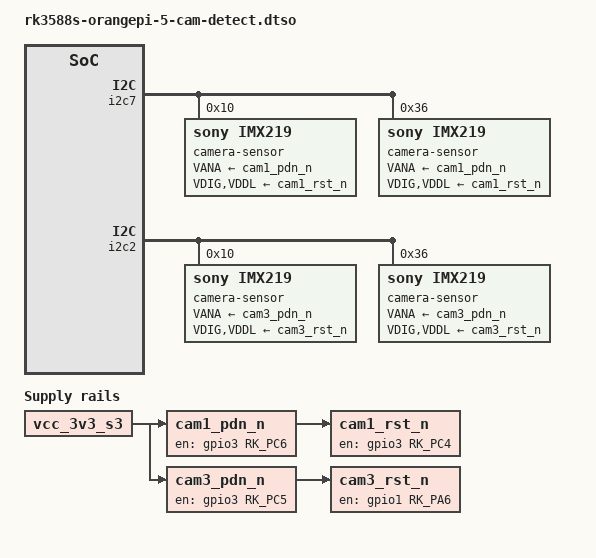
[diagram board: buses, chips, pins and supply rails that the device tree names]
// SPDX-License-Identifier: (GPL-2.0+ OR MIT)
/*
 * NOT FOR UPSTREAM: one-boot camera presence probe for the Orange Pi 5.
 *
 * Camera sensors only answer on I2C once they're powered, out of reset and
 * clocked, and the board DT neither enables I2C7 nor drives the camera
 * control lines, so a plain i2cdetect can't see an attached module. This
 * overlay powers the CAM1 and CAM3 connectors and binds the mainline imx219
 * driver to the usual sensor addresses (0x10: IMX219 / OV13850, 0x36:
 * OV13855) only to use its identify step, which only reads 16-bit register
 * 0x0000 and powers the sensor off again on failure:
 *
 *   "failed to read chip id 219"     -> nothing acknowledges at that address
 *   "chip id mismatch: 219!=<val>"   -> a non-IMX219 sensor is there
 *   probe succeeds                   -> an IMX219 is there
 *
 * Wiring from the Xunlong vendor kernel (rk3588s-orangepi-5-camera[13].dtsi):
 *   CAM1: I2C7 (M0), MCLK CLK_MIPI_CAMARAOUT_M3 (GPIO1_D6),
 *         reset GPIO3_C4, power-down GPIO3_C6
 *   CAM3: I2C2 (board default pins), MCLK CLK_MIPI_CAMARAOUT_M4 (GPIO1_D7),
 *         reset GPIO1_A6, power-down GPIO3_C5
 * CAM2 shares I2C7 and the sensor addresses with CAM1 (reset GPIO1_B2,
 * power-down GPIO3_C1, MCLK M4) and isn't covered here.
 *
 * The reset and power-down lines (active low at the sensor) are modelled as
 * fixed regulators, so both sensor nodes of a connector can share them; the
 * imx219 supplies bring up power-down first, then reset.
 */

/dts-v1/;
/plugin/;

#include <dt-bindings/clock/rockchip,rk3588-cru.h>
#include <dt-bindings/gpio/gpio.h>
#include <dt-bindings/pinctrl/rockchip.h>

&{/} {
	cam1_pdn_n: regulator-cam1-pdn-n {
		compatible = "regulator-fixed";
		enable-active-high;
		gpio = <&gpio3 RK_PC6 GPIO_ACTIVE_HIGH>;
		pinctrl-names = "default";
		pinctrl-0 = <&camdet_cam1_pdn &mipim0_camera3_clk>;
		regulator-name = "cam1_pdn_n";
		startup-delay-us = <5000>;
		vin-supply = <&vcc_3v3_s3>;
	};

	cam1_rst_n: regulator-cam1-rst-n {
		compatible = "regulator-fixed";
		enable-active-high;
		gpio = <&gpio3 RK_PC4 GPIO_ACTIVE_HIGH>;
		pinctrl-names = "default";
		pinctrl-0 = <&camdet_cam1_rst>;
		regulator-name = "cam1_rst_n";
		startup-delay-us = <10000>;
		vin-supply = <&cam1_pdn_n>;
	};

	cam3_pdn_n: regulator-cam3-pdn-n {
		compatible = "regulator-fixed";
		enable-active-high;
		gpio = <&gpio3 RK_PC5 GPIO_ACTIVE_HIGH>;
		pinctrl-names = "default";
		pinctrl-0 = <&camdet_cam3_pdn &mipim0_camera4_clk>;
		regulator-name = "cam3_pdn_n";
		startup-delay-us = <5000>;
		vin-supply = <&vcc_3v3_s3>;
	};

	cam3_rst_n: regulator-cam3-rst-n {
		compatible = "regulator-fixed";
		enable-active-high;
		gpio = <&gpio1 RK_PA6 GPIO_ACTIVE_HIGH>;
		pinctrl-names = "default";
		pinctrl-0 = <&camdet_cam3_rst>;
		regulator-name = "cam3_rst_n";
		startup-delay-us = <10000>;
		vin-supply = <&cam3_pdn_n>;
	};
};

&pinctrl {
	camdet {
		camdet_cam1_pdn: camdet-cam1-pdn-pinctrl {
			rockchip,pins = <3 RK_PC6 RK_FUNC_GPIO &pcfg_pull_none>;
		};

		camdet_cam1_rst: camdet-cam1-rst-pinctrl {
			rockchip,pins = <3 RK_PC4 RK_FUNC_GPIO &pcfg_pull_none>;
		};

		camdet_cam3_pdn: camdet-cam3-pdn-pinctrl {
			rockchip,pins = <3 RK_PC5 RK_FUNC_GPIO &pcfg_pull_none>;
		};

		camdet_cam3_rst: camdet-cam3-rst-pinctrl {
			rockchip,pins = <1 RK_PA6 RK_FUNC_GPIO &pcfg_pull_none>;
		};
	};
};

&i2c7 {
	#address-cells = <1>;
	#size-cells = <0>;
	pinctrl-names = "default";
	pinctrl-0 = <&i2c7m0_xfer>;
	status = "okay";

	camera-sensor@10 {
		compatible = "sony,imx219";
		reg = <0x10>;
		assigned-clocks = <&cru CLK_MIPI_CAMARAOUT_M3>;
		assigned-clock-rates = <24000000>;
		clocks = <&cru CLK_MIPI_CAMARAOUT_M3>;
		VANA-supply = <&cam1_pdn_n>;
		VDIG-supply = <&cam1_rst_n>;
		VDDL-supply = <&cam1_rst_n>;

		port {
			endpoint {
				data-lanes = <1 2>;
				link-frequencies = /bits/ 64 <456000000>;
			};
		};
	};

	camera-sensor@36 {
		compatible = "sony,imx219";
		reg = <0x36>;
		clocks = <&cru CLK_MIPI_CAMARAOUT_M3>;
		VANA-supply = <&cam1_pdn_n>;
		VDIG-supply = <&cam1_rst_n>;
		VDDL-supply = <&cam1_rst_n>;

		port {
			endpoint {
				data-lanes = <1 2>;
				link-frequencies = /bits/ 64 <456000000>;
			};
		};
	};
};

&i2c2 {
	#address-cells = <1>;
	#size-cells = <0>;

	camera-sensor@10 {
		compatible = "sony,imx219";
		reg = <0x10>;
		assigned-clocks = <&cru CLK_MIPI_CAMARAOUT_M4>;
		assigned-clock-rates = <24000000>;
		clocks = <&cru CLK_MIPI_CAMARAOUT_M4>;
		VANA-supply = <&cam3_pdn_n>;
		VDIG-supply = <&cam3_rst_n>;
		VDDL-supply = <&cam3_rst_n>;

		port {
			endpoint {
				data-lanes = <1 2>;
				link-frequencies = /bits/ 64 <456000000>;
			};
		};
	};

	camera-sensor@36 {
		compatible = "sony,imx219";
		reg = <0x36>;
		clocks = <&cru CLK_MIPI_CAMARAOUT_M4>;
		VANA-supply = <&cam3_pdn_n>;
		VDIG-supply = <&cam3_rst_n>;
		VDDL-supply = <&cam3_rst_n>;

		port {
			endpoint {
				data-lanes = <1 2>;
				link-frequencies = /bits/ 64 <456000000>;
			};
		};
	};
};
